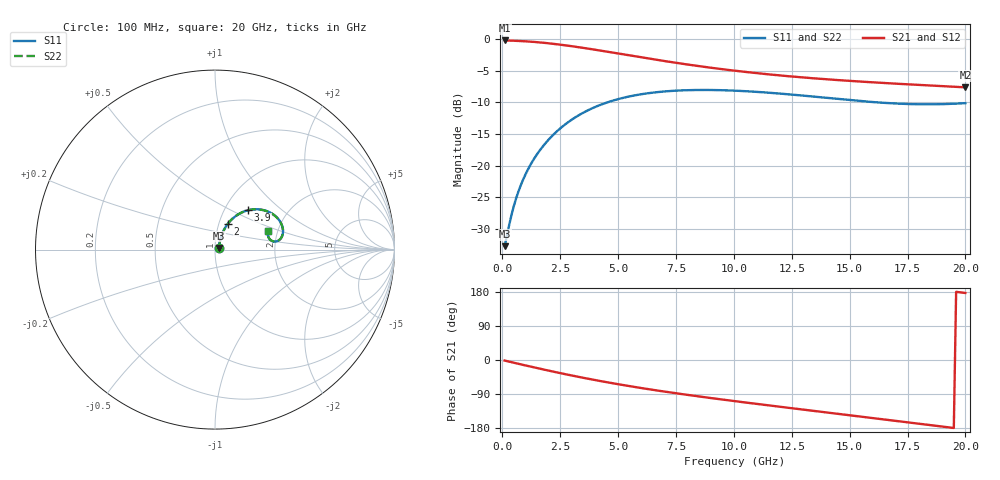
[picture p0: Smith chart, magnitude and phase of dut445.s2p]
! Touchstone file exported from HFSS 2024.1.0
!  File:  C:/UserFiles/LocalFiles/RDL_TSV_Batchsim/temp_RDL_TSV_445_1779723466.aedt
!  Generated:  11:55:16 PM May 25, 2026
!  Design:  RDL_TSV
!  Project:  temp_RDL_TSV_445_1779723466
!  Setup:  Setup1
!  Solution:  Sweep
! Variables:
!  dtsv = 5.29um
!  hbump = 3um
!  htsv = 57.97um
!  ldown = 418.46um
!  lrdl = 394.29um
!  p = 40
!  p1 = 43.15um
!  rhole = 10um
!  subl = 2832.54um
!  t = 450um
!  tdown = 2.71um
!  trdl = 4.16um
!  viad = 10um
!  wdown = 14.41um
!  wrdl = 15.41um
!  xbump = 18um
# GHz S MA R 50.000000
! Terminal data exported
! Port[1] = TM1_1_T1
! Port[2] = TM1_4_T1
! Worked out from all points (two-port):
!   200 points, 100 MHz to 20 GHz, reference 50 ohm
!   highest |S21| = -0.19 dB at 100 MHz (marker M1); lowest = -7.6 dB at 20 GHz (marker M2)
!   |S21| within 3 dB of the highest: start of sweep to 6.554 GHz
!   lowest |S11| = -32.8 dB at 100 MHz (marker M3), VSWR 1.05, Z = 52.2 + j0.883 ohm
!   |S11| at or under -10 dB: start of sweep to 4.534 GHz; 16.21 GHz to end of sweep
!   |S22| runs from -32.8 to -8.0 dB; largest |S21 - S12| = 9.5e-15
!   S11 on the Smith chart (normalised r, x): 100 MHz: 1.04, +0.02; 2 GHz: 1.10, +0.33; 3.9 GHz: 1.28, +0.61; 20 GHz: 1.78, +0.40
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0.1  0.02297 21.6  0.9786 -1.5  0.9786 -1.5  0.02297 21.6
! Gamma 0 0 0 0
! Port Impedance 50 0 50 0
0.3  0.03397 46.8  0.9767 -4.4  0.9767 -4.4  0.03397 46.7
0.5  0.04788 56.9  0.9738 -7.3  0.9738 -7.3  0.04789 56.9
0.8  0.06989 63.1  0.9682 -11.5  0.9682 -11.5  0.06989 63.1
1  0.08489 64.8  0.9635 -14.3  0.9635 -14.3  0.08489 64.8
1.3  0.1076 65.6  0.9551 -18.5  0.9551 -18.5  0.1076 65.6
1.6  0.1304 65.2  0.945 -22.6  0.945 -22.6  0.1304 65.2
2  0.1604 63.6  0.9292 -28.0  0.9292 -28.0  0.1604 63.6
2.7  0.2107 59.3  0.8967 -37.2  0.8967 -37.2  0.2106 59.2
3.5  0.2622 53.3  0.8546 -47.0  0.8546 -47.0  0.2621 53.3
3.9  0.2849 50.2  0.8325 -51.7  0.8325 -51.7  0.2848 50.2
4.5  0.3147 45.5  0.7992 -58.5  0.7992 -58.5  0.3146 45.5
5.2  0.343 40.3  0.761 -65.9  0.761 -65.9  0.3428 40.3
6.8  0.3831 29.7  0.6815 -81.5  0.6815 -81.5  0.3829 29.7
8.4  0.3966 21.2  0.6161 -95.4  0.6161 -95.4  0.3964 21.2
10.1  0.3913 14.4  0.5621 -109.0  0.5621 -109.0  0.3911 14.4
11.7  0.3751 10.1  0.5231 -121.2  0.5231 -121.2  0.3748 10.1
13.4  0.352 7.8  0.4915 -133.9  0.4915 -133.9  0.3517 7.8
15.1  0.3286 8.0  0.4669 -146.4  0.4669 -146.4  0.3283 8.0
16.7  0.312 10.4  0.4482 -158.3  0.4482 -158.3  0.3116 10.3
18.3  0.3053 14.3  0.432 -170.3  0.432 -170.3  0.3049 14.3
20  0.312 18.9  0.4162 176.8  0.4162 176.8  0.3117 19.0
